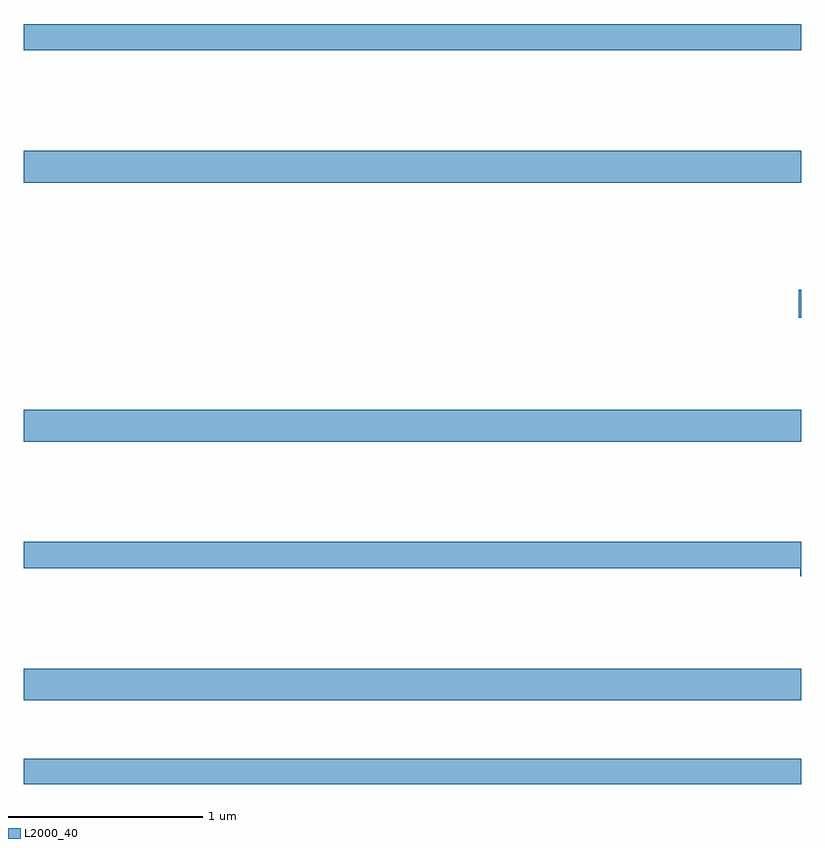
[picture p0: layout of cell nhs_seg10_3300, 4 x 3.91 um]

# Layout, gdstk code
import gdstk
lib = gdstk.Library(unit=1e-6, precision=1e-09)
def R(c, l, rs):  # rectangles x0, y0, x1, y1
    for r in rs: c.add(gdstk.rectangle(r[:2], r[2:], *l))
def A(c, l, x, y, w, h, nx, ny, dx, dy):  # array of equal rectangles
    R(c, l, [(x+i*dx, y+j*dy, x+i*dx+w, y+j*dy+h) for i in range(nx) for j in range(ny)])
def P(c, l, *ps):  # polygons
    for p in ps: c.add(gdstk.Polygon(p, *l))
L2000_40 = (2000, 40)

nhs_seg10_3300 = lib.new_cell('nhs_seg10_3300')
A(nhs_seg10_3300, L2000_40, 289, 1322.96, 4, 0.164, 1, 3, 0, 1.332)
R(nhs_seg10_3300, L2000_40, [(289,1322.53,293,1322.659), (292.986,1324.93,293,1325.072), (289,1326.304,293,1326.44)])
P(nhs_seg10_3300, L2000_40, [(293,1323.776),(289,1323.776),(289,1323.64),(292.994,1323.64),(292.994,1323.598),(293,1323.598)])

lib.write_gds('nhs_seg10_3300.gds')
